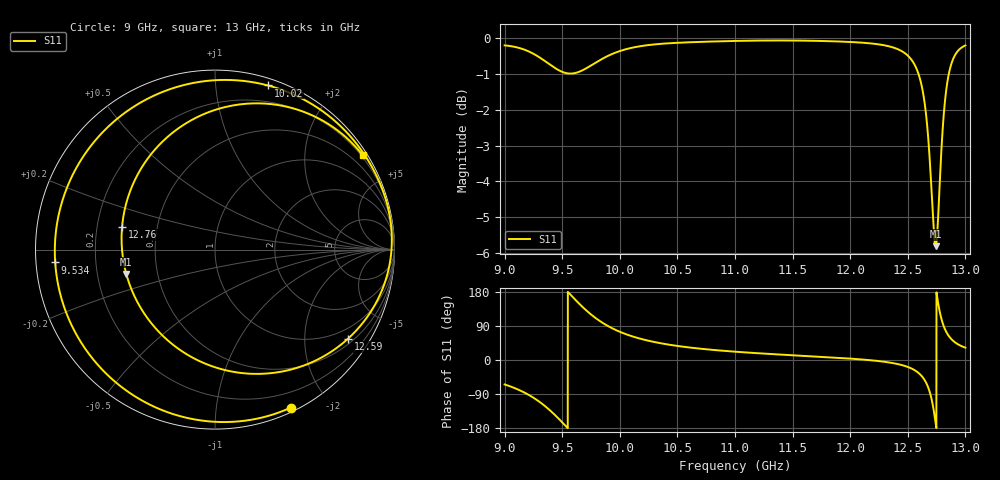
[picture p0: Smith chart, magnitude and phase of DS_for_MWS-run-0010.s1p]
! TOUCHSTONE file generated by CST DESIGN STUDIO
! Date and time: Tue Feb  4 14:29:11 2025
! Project name: C:\Work\MatlabApps\UnitCellOptimizationMatlab\CST\unitcell.cst
! Tree item: Tasks\Sweep1\SPara1\S-Parameters
! Header version: 2024
! Port assignment regex: !\s*Touchstone port\s*([0-9]+)\s*=\s*(CST MWS port|CST DES external port|CST DES block port)\s*(.+)\s* \(\"(.*)\"\)(\s*mode\s*([0-9]+))?.*
! Touchstone port assignment:
! Touchstone port 1 = CST DES external port 1 ("")
# GHz S MA R 50
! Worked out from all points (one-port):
!   4001 points, 9 GHz to 13 GHz, reference 50 ohm
!   lowest |S11| = -5.8 dB at 12.74 GHz (marker M1), VSWR 3.10, Z = 16.4 - j6.05 ohm
!   |S11| at or under -10 dB: nowhere
!   S11 on the Smith chart (normalised r, x): 9 GHz: 0.04, -1.58; 9.534 GHz: 0.06, -0.04; 10.02 GHz: 0.06, +1.37; 12.59 GHz: 0.65, -3.16; 12.76 GHz: 0.31, +0.11; 13 GHz: 0.15, +3.41
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9  0.9764 -64.5
9.141  0.9668 -81.3
9.291  0.9421 -107.8
9.394  0.9179 -132.9
9.5  0.8968 -164.5
9.534  0.8933 -175.4
9.629  0.895 154.2
9.752  0.9158 119.7
9.86  0.9375 96.3
10  0.9587 74.5
10.019  0.9609 72.1
10.227  0.9764 52.4
10.5  0.9845 37.1
11  0.9904 21.9
11.5  0.9918 12.5
12  0.9871 3.7
12.31  0.9757 -5.2
12.5  0.9449 -18.3
12.592  0.8918 -33.9
12.644  0.8163 -51.9
12.687  0.6903 -81.0
12.714  0.5789 -114.0
12.741  0.5127 -164.6
12.755  0.5331 166.3
12.789  0.6849 111.9
12.823  0.8176 81.0
12.894  0.935 50.5
13  0.9762 32.6
